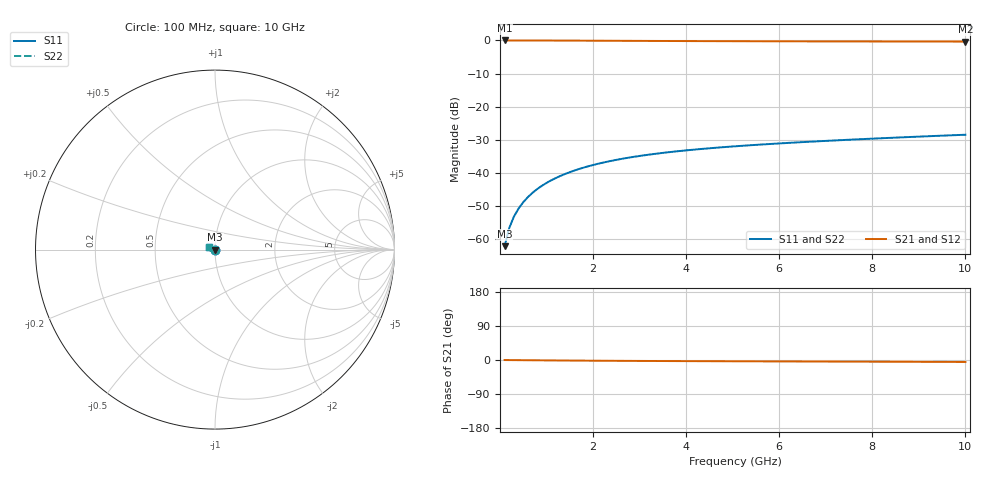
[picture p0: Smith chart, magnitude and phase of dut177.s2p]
! Touchstone file exported from HFSS 2024.1.0
!  File:  C:/UserFiles/LocalFiles/RDL_TSV_Batchsim/temp_TSV1_177_1779383778.aedt
!  Generated:  01:21:26 AM May 22, 2026
!  Design:  TSV1
!  Project:  temp_TSV1_177_1779383778
!  Setup:  Setup1
!  Solution:  Sweep
! Variables:
!  dtsv = 6.55um
!  hbump = 3um
!  htsv = 77.96um
!  lrdl = 252.1521522um
!  p = 40
!  p1 = 47.74um
!  t = 500um
!  trdl = 3um
!  wrdl = 24.89489489um
# GHz S MA R 50.000000
! Terminal data exported
! Port[1] = TSV22_T1
! Port[2] = TSV22_T2
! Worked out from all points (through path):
!   100 points, 100 MHz to 10 GHz, reference 50 ohm
!   highest |S21| = 0.00 dB at 100 MHz (marker M1); lowest = -0.3 dB at 10 GHz (marker M2)
!   lowest |S11| = -62.1 dB at 100 MHz (marker M3), VSWR 1.00, Z = 50 - j0.0723 ohm
!   |S11| at or under -10 dB: start of sweep to end of sweep
!   |S22| runs from -62.1 to -28.5 dB; largest |S21 - S12| = 3.5e-15
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0.1  0.0007837 -67.3  0.9996 -0.1  0.9996 -0.1  0.0007837 -67.3
! Gamma 0 0 0 0
! Port Impedance 50 0 50 0
0.2  0.001478 -81.1  0.9996 -0.2  0.9996 -0.2  0.001478 -81.1
0.3  0.002189 -87.3  0.9994 -0.3  0.9994 -0.3  0.002189 -87.3
0.4  0.002901 -91.5  0.9992 -0.4  0.9992 -0.4  0.002901 -91.5
0.5  0.00361 -94.8  0.999 -0.5  0.999 -0.5  0.00361 -94.8
0.6  0.004315 -97.7  0.9987 -0.6  0.9987 -0.6  0.004315 -97.7
0.7  0.005013 -100.3  0.9984 -0.7  0.9984 -0.7  0.005013 -100.3
0.8  0.005704 -102.7  0.998 -0.8  0.998 -0.8  0.005704 -102.7
0.9  0.006387 -105.0  0.9976 -0.9  0.9976 -0.9  0.006387 -105.0
1.1  0.007724 -109.4  0.9967 -1.1  0.9967 -1.1  0.007724 -109.4
1.4  0.009648 -115.5  0.9951 -1.4  0.9951 -1.4  0.009648 -115.5
1.6  0.01087 -119.4  0.9939 -1.5  0.9939 -1.5  0.01087 -119.4
1.8  0.01204 -123.1  0.9926 -1.7  0.9926 -1.7  0.01204 -123.1
2.1  0.01371 -128.4  0.9907 -1.9  0.9907 -1.9  0.01371 -128.4
2.5  0.01575 -135.1  0.988 -2.2  0.988 -2.2  0.01575 -135.1
2.9  0.0176 -141.3  0.9853 -2.4  0.9853 -2.4  0.0176 -141.3
3.4  0.01968 -148.5  0.9822 -2.7  0.9822 -2.7  0.01968 -148.5
4.2  0.02257 -158.7  0.9777 -3.0  0.9777 -3.0  0.02257 -158.7
5.1  0.02537 -168.6  0.9735 -3.4  0.9735 -3.4  0.02537 -168.6
6.7  0.02969 176.9  0.9681 -4.0  0.9681 -4.0  0.02969 176.9
8.4  0.03388 164.8  0.9642 -4.6  0.9642 -4.6  0.03388 164.8
10  0.03772 155.5  0.9616 -5.2  0.9616 -5.2  0.03772 155.5
